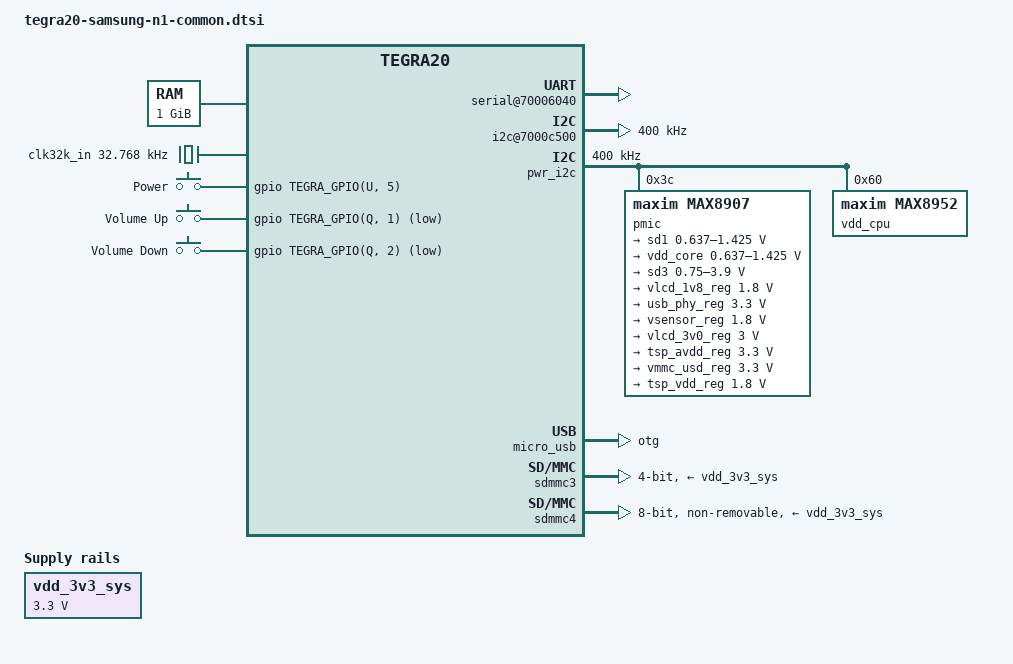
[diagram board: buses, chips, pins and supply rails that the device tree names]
// SPDX-License-Identifier: GPL-2.0
/dts-v1/;

#include <dt-bindings/input/gpio-keys.h>
#include <dt-bindings/input/input.h>
#include <dt-bindings/thermal/thermal.h>

#include "tegra20.dtsi"
#include "tegra20-cpu-opp.dtsi"
#include "tegra20-cpu-opp-microvolt.dtsi"

/ {
	aliases {
		i2c0 = &pwr_i2c;

		mmc0 = &sdmmc4; /* eMMC */
		mmc1 = &sdmmc3; /* uSD slot */

		/* MAX8907 RTC seems to be broken here, so use Tegra's */
		rtc0 = "/rtc@7000e000";
		rtc1 = &pmic;

		usb0 = &micro_usb;
	};

	/*
	 * The decompressor and also some bootloaders rely on a
	 * pre-existing /chosen node to be available to insert the
	 * command line and merge other ATAGS info.
	 */
	chosen {};

	memory@0 {
		reg = <0x00000000 0x40000000>; /* 1 GB */
	};

	reserved-memory {
		#address-cells = <1>;
		#size-cells = <1>;
		ranges;

		ramoops@2ffe0000 {
			compatible = "ramoops";
			reg = <0x2ffe0000 0x10000>;	/* 64kB */
			console-size = <0x8000>;	/* 32kB */
			record-size = <0x400>;		/*  1kB */
			ecc-size = <16>;
		};

		linux,cma@30000000 {
			compatible = "shared-dma-pool";
			alloc-ranges = <0x30000000 0x10000000>;
			size = <0x10000000>; /* 256MiB */
			linux,cma-default;
			reusable;
		};
	};

	pinmux@70000014 {
		pinctrl-names = "default";
		pinctrl-0 = <&state_default>;

		state_default: pinmux {
			ata {
				nvidia,pins = "ata";
				nvidia,function = "ide";
			};

			atb {
				nvidia,pins = "atb", "gma", "gme";
				nvidia,function = "sdio4";
			};

			atc {
				nvidia,pins = "atc";
				nvidia,function = "nand";
			};

			atd {
				nvidia,pins = "atd", "ate", "gmb", "spia",
					"spib", "spic";
				nvidia,function = "gmi";
			};

			cdev1 {
				nvidia,pins = "cdev1";
				nvidia,function = "plla_out";
			};

			cdev2 {
				nvidia,pins = "cdev2";
				nvidia,function = "pllp_out4";
			};

			crtp {
				nvidia,pins = "crtp";
				nvidia,function = "crt";
			};

			lm1 {
				nvidia,pins = "lm1";
				nvidia,function = "rsvd3";
			};

			csus {
				nvidia,pins = "csus";
				nvidia,function = "vi_sensor_clk";
			};

			dap1 {
				nvidia,pins = "dap1";
				nvidia,function = "dap1";
			};

			dap2 {
				nvidia,pins = "dap2";
				nvidia,function = "dap2";
			};

			dap3 {
				nvidia,pins = "dap3";
				nvidia,function = "dap3";
			};

			dap4 {
				nvidia,pins = "dap4";
				nvidia,function = "dap4";
			};

			dta {
				nvidia,pins = "dta", "dtb", "dtc", "dtd", "dte";
				nvidia,function = "vi";
			};

			dtf {
				nvidia,pins = "dtf";
				nvidia,function = "i2c3";
			};

			gmc {
				nvidia,pins = "gmc";
				nvidia,function = "uartd";
			};

			gmd {
				nvidia,pins = "gmd";
				nvidia,function = "sflash";
			};

			gpu {
				nvidia,pins = "gpu";
				nvidia,function = "pwm";
			};

			gpu7 {
				nvidia,pins = "gpu7";
				nvidia,function = "rtck";
			};

			gpv {
				nvidia,pins = "gpv", "slxa";
				nvidia,function = "pcie";
			};

			hdint {
				nvidia,pins = "hdint";
				nvidia,function = "hdmi";
			};

			i2cp {
				nvidia,pins = "i2cp";
				nvidia,function = "i2cp";
			};

			irrx {
				nvidia,pins = "irrx", "irtx";
				nvidia,function = "uartb";
			};

			kbca {
				nvidia,pins = "kbca", "kbcb", "kbcc", "kbcd",
					"kbce", "kbcf";
				nvidia,function = "kbc";
			};

			lcsn {
				nvidia,pins = "lcsn", "ldc", "lm0", "lpw1",
					"lsdi", "lvp0";
				nvidia,function = "rsvd4";
			};

			ld0 {
				nvidia,pins = "ld0", "ld1", "ld2", "ld3", "ld4",
					"ld5", "ld6", "ld7", "ld8", "ld9",
					"ld10", "ld11", "ld12", "ld13", "ld14",
					"ld15", "ld16", "ld17", "ldi", "lhp0",
					"lhp1", "lhp2", "lhs", "lpp", "lpw0",
					"lpw2", "lsc0", "lsc1", "lsck", "lsda",
					"lspi", "lvp1", "lvs";
				nvidia,function = "displaya";
			};

			owc {
				nvidia,pins = "owc", "spdi", "spdo", "uac";
				nvidia,function = "rsvd2";
			};

			pmc {
				nvidia,pins = "pmc";
				nvidia,function = "pwr_on";
			};

			rm {
				nvidia,pins = "rm";
				nvidia,function = "i2c1";
			};

			sdb {
				nvidia,pins = "sdb", "sdc", "sdd", "slxc", "slxk";
				nvidia,function = "sdio3";
			};

			sdio1 {
				nvidia,pins = "sdio1";
				nvidia,function = "sdio1";
			};

			slxd {
				nvidia,pins = "slxd";
				nvidia,function = "spdif";
			};

			spid {
				nvidia,pins = "spid", "spie", "spif";
				nvidia,function = "spi1";
			};

			spig {
				nvidia,pins = "spig", "spih";
				nvidia,function = "spi2_alt";
			};

			uaa {
				nvidia,pins = "uaa", "uab", "uda";
				nvidia,function = "ulpi";
			};

			uad {
				nvidia,pins = "uad";
				nvidia,function = "irda";
			};

			uca {
				nvidia,pins = "uca", "ucb";
				nvidia,function = "uartc";
			};

			conf_ata {
				nvidia,pins = "ata", "atb", "atc", "atd",
					"cdev1", "cdev2", "dap1", "dap4",
					"dte", "ddc", "dtf", "gma", "gmc",
					"gme", "gpu", "gpu7", "gpv", "i2cp",
					"irrx", "irtx", "pta", "rm", "sdc",
					"sdd", "slxc", "slxd", "slxk", "spdi",
					"spdo", "uac", "uad",
					"uda", "csus";
				nvidia,pull = <TEGRA_PIN_PULL_NONE>;
				nvidia,tristate = <TEGRA_PIN_DISABLE>;
			};

			conf_ate {
				nvidia,pins = "ate", "dap2", "dap3", "gmb", "gmd",
					"owc", "spia", "spib", "spic",
					"spid", "spie", "spig", "slxa";
				nvidia,pull = <TEGRA_PIN_PULL_NONE>;
				nvidia,tristate = <TEGRA_PIN_ENABLE>;
			};

			conf_ck32 {
				nvidia,pins = "ck32", "ddrc", "pmca", "pmcb",
					"pmcc", "pmcd", "pmce", "xm2c", "xm2d";
				nvidia,pull = <TEGRA_PIN_PULL_NONE>;
			};

			conf_crtp {
				nvidia,pins = "crtp", "spih";
				nvidia,pull = <TEGRA_PIN_PULL_UP>;
				nvidia,tristate = <TEGRA_PIN_ENABLE>;
			};

			conf_dta {
				nvidia,pins = "dta", "dtb", "dtc", "dtd";
				nvidia,pull = <TEGRA_PIN_PULL_DOWN>;
				nvidia,tristate = <TEGRA_PIN_DISABLE>;
			};

			conf_spif {
				nvidia,pins = "spif";
				nvidia,pull = <TEGRA_PIN_PULL_DOWN>;
				nvidia,tristate = <TEGRA_PIN_ENABLE>;
			};

			conf_hdint {
				nvidia,pins = "hdint", "lcsn", "ldc", "lm1",
					"lpw1", "lsck", "lsda", "lsdi", "lvp0";
				nvidia,tristate = <TEGRA_PIN_ENABLE>;
			};

			conf_kbca {
				nvidia,pins = "kbca", "kbcb", "kbcc", "kbcd",
					"kbce", "kbcf", "sdio1", "uaa", "uab",
					"uca", "ucb";
				nvidia,pull = <TEGRA_PIN_PULL_UP>;
				nvidia,tristate = <TEGRA_PIN_DISABLE>;
			};

			conf_lc {
				nvidia,pins = "lc", "ls";
				nvidia,pull = <TEGRA_PIN_PULL_UP>;
			};

			conf_ld0 {
				nvidia,pins = "ld0", "ld1", "ld2", "ld3", "ld4",
					"ld5", "ld6", "ld7", "ld8", "ld9",
					"ld10", "ld11", "ld12", "ld13", "ld14",
					"ld15", "ld16", "ld17", "ldi", "lhp0",
					"lhp1", "lhp2", "lhs", "lm0", "lpp",
					"lpw0", "lpw2", "lsc0", "lsc1", "lspi",
					"lvp1", "lvs", "pmc", "sdb";
				nvidia,tristate = <TEGRA_PIN_DISABLE>;
			};

			conf_ld17_0 {
				nvidia,pins = "ld17_0", "ld19_18", "ld21_20",
					"ld23_22";
				nvidia,pull = <TEGRA_PIN_PULL_DOWN>;
			};

			drive_sdio1 {
				nvidia,pins = "drive_sdio1", "drive_ddc", "drive_vi1";
				nvidia,high-speed-mode = <TEGRA_PIN_DISABLE>;
				nvidia,schmitt = <TEGRA_PIN_ENABLE>;
				nvidia,low-power-mode = <TEGRA_PIN_LP_DRIVE_DIV_1>;
				nvidia,pull-down-strength = <31>;
				nvidia,pull-up-strength = <31>;
				nvidia,slew-rate-rising = <TEGRA_PIN_SLEW_RATE_SLOWEST>;
				nvidia,slew-rate-falling = <TEGRA_PIN_SLEW_RATE_SLOWEST>;
			};

			drive_csus {
				nvidia,pins = "drive_csus";
				nvidia,high-speed-mode = <TEGRA_PIN_DISABLE>;
				nvidia,schmitt = <TEGRA_PIN_DISABLE>;
				nvidia,low-power-mode = <TEGRA_PIN_LP_DRIVE_DIV_1>;
				nvidia,pull-down-strength = <31>;
				nvidia,pull-up-strength = <31>;
				nvidia,slew-rate-rising = <TEGRA_PIN_SLEW_RATE_SLOWEST>;
				nvidia,slew-rate-falling = <TEGRA_PIN_SLEW_RATE_SLOWEST>;
			};
		};

		state_i2cmux_ddc: pinmux-i2cmux-ddc {
			ddc {
				nvidia,pins = "ddc";
				nvidia,function = "i2c2";
			};

			pta {
				nvidia,pins = "pta";
				nvidia,function = "rsvd4";
			};
		};

		state_i2cmux_idle: pinmux-i2cmux-idle {
			ddc {
				nvidia,pins = "ddc";
				nvidia,function = "rsvd4";
			};

			pta {
				nvidia,pins = "pta";
				nvidia,function = "rsvd4";
			};
		};

		state_i2cmux_pta: pinmux-i2cmux-pta {
			ddc {
				nvidia,pins = "ddc";
				nvidia,function = "rsvd4";
			};

			pta {
				nvidia,pins = "pta";
				nvidia,function = "i2c2";
			};
		};

		state_isa1200_on: state_isa1200_on {
			cdev2 {
				nvidia,pins = "cdev2";
				nvidia,pull = <TEGRA_PIN_PULL_UP>;
				nvidia,tristate = <TEGRA_PIN_DISABLE>;
			};
		};

		state_isa1200_off: state_isa1200_off {
			cdev2 {
				nvidia,pins = "cdev2";
				nvidia,pull = <TEGRA_PIN_PULL_NONE>;
				nvidia,tristate = <TEGRA_PIN_ENABLE>;
			};
		};
	};
#if 0
/* TODO review all this again, gpios seems to be correct */

	// GPS
	serial@70006000 {
		// I get a DMA error when HSUART is enabled, fall back to 8250
		// Also I get mysterious timed-out errors, no matter what GPIOs are.
		// compatible = "nvidia,tegra20-hsuart";
		status = "okay";
		current-speed = <115200>;
		// current-speed = <460800>;
		// current-speed = <9600>;

		/*
		 * Wakeup GPIO is needed for kernel driver to work,
		 * but we don't have one... There's GPIO_GPS_CNTL in
		 * original kernel, but it's not used.
		 */
#if 0
		gnss {
			// Actual chip is unknown
			// (I don't want to teardown this thing)
			compatible = "wi2wi,w2sg0084i";

			sirf,onoff-gpios = <&gpio TEGRA_GPIO(N, 6) GPIO_ACTIVE_HIGH>;
			// reset GPIO: B2
			// sirf,onoff-gpios = <&gpio TEGRA_GPIO(B, 2) GPIO_ACTIVE_LOW>;
			// Also depends on this, but no way to specify it
			clocks = <&tegra_pmc TEGRA_PMC_CLK_BLINK>;
			vcc-supply = <&gps_en>;
		};
#endif
	};
#endif

	serial@70006040 {
		/* Console UART */
		status = "okay";
	};

#if 0
/* TODO review all this again, gpios seems to be correct */
	// Bluetooth
	serial@70006200 {
		compatible = "nvidia,tegra20-hsuart";
		status = "okay";

		bluetooth {
			compatible = "brcm,bcm4330-bt";

			interrupt-parent = <&gpio>;
			interrupts = <TEGRA_GPIO(S, 2) IRQ_TYPE_EDGE_RISING>;
			interrupt-names = "host-wakeup";

			max-speed = <921600>;

			shutdown-gpios = <&gpio TEGRA_GPIO(W, 1) GPIO_ACTIVE_HIGH>;
			device-wakeup-gpios = <&gpio TEGRA_GPIO(S, 1) GPIO_ACTIVE_HIGH>;

			clocks = <&tegra_car TEGRA20_CLK_UARTC>;
			clock-names = "txco";

		};
	};

	i2c@7000c400 {
		status = "okay";
		clock-frequency = <100000>;
	};

	i2cmux {
		compatible = "i2c-mux-pinctrl";
		#address-cells = <1>;
		#size-cells = <0>;

		i2c-parent = <&{/i2c@7000c400}>;

		pinctrl-names = "ddc", "pta", "idle";
		pinctrl-0 = <&state_i2cmux_ddc>;
		pinctrl-1 = <&state_i2cmux_pta>;
		pinctrl-2 = <&state_i2cmux_idle>;

		i2c@0 {
			reg = <0>;
			#address-cells = <1>;
			#size-cells = <0>;

			mxt224e@4a {
				compatible = "atmel,maxtouch";
				reg = <0x4a>;
				interrupt-parent = <&gpio>;
				interrupts = <TEGRA_GPIO(D, 7) IRQ_TYPE_LEVEL_LOW>;

				vdda-supply = <&tsp_avdd_reg>;
				/* VDD LVSIO (level shifter) is not yet
				 * implemented in maxtouch driver
				 * TODO: lvsio-supply = <&tsp_lvsio_reg>;
				 */
				vdd-supply = <&tsp_vdd_reg>;
			};
		};

		/* TODO Unused? */
		i2c@1 {
			reg = <1>;
			#address-cells = <1>;
			#size-cells = <0>;
		};
	};
#endif

	i2c@7000c500 {
		/* Cameras i2c */
		status = "okay";
		clock-frequency = <400000>;

		/* Not supported - no DT binding */
		/* Front camera */
		/* s5k6aafx@3c {
			reg = <0x3c>;
		}; */
	};

	pwr_i2c: i2c@7000d000 {
		status = "okay";
		clock-frequency = <400000>;

		pmic: max8907@3c {
			compatible = "maxim,max8907";
			reg = <0x3c>;

			/*
			 * Ints seem to be broken, even on downstream -
			 * on Whistler board, which uses the same PMIC,
			 * they're marked as LEVEL_HIGH, however, this
			 * makes them always-on, so we get something
			 * like "irq 301: nobody cared" - no interrupt
			 * status reg set, BUT irq line is asserted, and
			 * I don't know how to clear it. Probably it
			 * should be triggered on edge. Downstream
			 * charger driver triggers charging interrupt
			 * on TRIGGER_RISING. Oh, no docs available
			 * on the net.
			 *
			 * Downstream kernel also has broken alarm, but
			 * time readings are correct.
			 *
			 * As a workaround, we use internal Tegra RTC
			 * as a main RTC.
			 */
			interrupts = <GIC_SPI 86 IRQ_TYPE_LEVEL_HIGH>;
			#interrupt-cells = <2>;
			interrupt-controller;

			#gpio-cells = <2>;
			gpio-controller;

			maxim,system-power-controller;

			regulators {
				sd1 {
					regulator-name = "sd1";
					regulator-min-microvolt = <637500>;
					regulator-max-microvolt = <1425000>;
					regulator-always-on;
					regulator-boot-on;
				};

				vdd_core: sd2 {
					regulator-name = "vdd_core,vdd_aon";
					regulator-min-microvolt = <637500>;
					regulator-max-microvolt = <1425000>;
					regulator-always-on;
					regulator-boot-on;
				};

				sd3 {
					/* max8952 supply */
					regulator-name = "sd3";
					regulator-min-microvolt = <750000>;
					regulator-max-microvolt = <3900000>;
					regulator-always-on;
					regulator-boot-on;
				};

				vlcd_1v8_reg: ldo3 {
					regulator-name = "vlcd_1v8";
					regulator-min-microvolt = <1800000>;
					regulator-max-microvolt = <1800000>;
					regulator-always-on;
					regulator-boot-on;
				};

				usb_phy_reg: ldo4 {
					regulator-name = "vap_usb_3v3";
					regulator-min-microvolt = <3300000>;
					regulator-max-microvolt = <3300000>;
					regulator-always-on;
					regulator-boot-on;
				};
				
				vsensor_reg: ldo10 {
					regulator-name = "vsensor_1v8";
					regulator-min-microvolt = <1800000>;
					regulator-max-microvolt = <1800000>;
				};

				vlcd_3v0_reg: ldo12 {
					regulator-name = "vlcd_3v0";
					regulator-min-microvolt = <3000000>;
					regulator-max-microvolt = <3000000>;
				};
				
				tsp_avdd_reg: ldo13 {
					regulator-name = "tsp_avdd_3v3";
					regulator-min-microvolt = <3300000>;
					regulator-max-microvolt = <3300000>;
					regulator-always-on;
				};

				vmmc_usd_reg: ldo16 {
					regulator-name = "vmmc_usd";
					regulator-min-microvolt = <3300000>;
					regulator-max-microvolt = <3300000>;
				};

				tsp_vdd_reg: ldo18 {
					regulator-name = "tsp_vdd_1v8";
					regulator-min-microvolt = <1800000>;
					regulator-max-microvolt = <1800000>;
					regulator-always-on;
				};
			};
		};
		
		vdd_cpu: max8952@60 {
			/* supply regulator is max8907's SD3 */
			compatible = "maxim,max8952";
			reg = <0x60>;
			
			max8952,dvs-mode-microvolt = <1100000>, <1100000>, <1100000>, <1100000>;
			max8952,default-mode = <1>;

			regulator-name = "vdd_arm";
			regulator-min-microvolt = <770000>;
			regulator-max-microvolt = <1100000>;
			regulator-always-on;
			regulator-boot-on;
		};
	};

#if 0
/* TODO review all this again, gpios seems to be correct */

	i2c-5 {
		/* Fuel Gauge i2c */
		compatible = "i2c-gpio";
		sda-gpios = <&gpio TEGRA_GPIO(O, 0) (GPIO_ACTIVE_HIGH | GPIO_OPEN_DRAIN)>;
		scl-gpios = <&gpio TEGRA_GPIO(O, 7) (GPIO_ACTIVE_HIGH | GPIO_OPEN_DRAIN)>;
		i2c-gpio,delay-us = <5>;
		#address-cells = <1>;
		#size-cells = <0>;

		// Use 17040 as 17043 is compatible - no ALRT feature
		max17043@36 {
			compatible = "maxim,max17040";
			reg = <0x36>;
			interrupt-parent = <&gpio>;
			interrupts = <TEGRA_GPIO(I, 5) IRQ_TYPE_LEVEL_HIGH>;
			/* Fuel alert - not supported (for now?) */
			//interrupt-parent = <&gpio>;
			//interrupts = <TEGRA_GPIO(I, 5) IRQ_TYPE_LEVEL_HIGH>;
		};
	};

	i2c-7 {
		/* Magnetometer i2c */
		compatible = "i2c-gpio";
		sda-gpios = <&gpio TEGRA_GPIO(O, 4) (GPIO_ACTIVE_HIGH | GPIO_OPEN_DRAIN)>;
		scl-gpios = <&gpio TEGRA_GPIO(O, 2) (GPIO_ACTIVE_HIGH | GPIO_OPEN_DRAIN)>;
		i2c-gpio,delay-us = <2>;
		#address-cells = <1>;
		#size-cells = <0>;

		ak8975@c {
			compatible = "asahi-kasei,ak8975";
			reg = <0xc>;
			gpios = <&gpio TEGRA_GPIO(K, 4) GPIO_ACTIVE_HIGH>;
			vdd-supply = <&vsensor_reg>;
		};
	};

	i2c-8 {
		/* Audio codec i2c */
		compatible = "i2c-gpio";
		sda-gpios = <&gpio TEGRA_GPIO(G, 3) (GPIO_ACTIVE_HIGH | GPIO_OPEN_DRAIN)>;
		scl-gpios = <&gpio TEGRA_GPIO(I, 0) (GPIO_ACTIVE_HIGH | GPIO_OPEN_DRAIN)>;
		i2c-gpio,delay-us = <5>;
		#address-cells = <1>;
		#size-cells = <0>;

		wm8994: wm8994@1a {
			compatible = "wlf,wm8994";
			reg = <0x1a>;

			DBVDD-supply = <&wlf_ldo>;
			DCVDD-supply = <&wlf_ldo>;
			AVDD1-supply = <&wlf_ldo>;
			AVDD2-supply = <&wlf_ldo>;
			CPVDD-supply = <&wlf_ldo>;
			SPKVDD1-supply = <&wlf_ldo>;
			SPKVDD2-supply = <&wlf_ldo>;

			gpio-controller;
			#gpio-cells = <2>;

			/* Probably doesn't make sense because typoed in driver */
			wlf,ldoena-always-driven;

			wlf,gpio-cfg = <0xA101 0 0 0 0 0 0 0 0 0 0>;
		};
	};

	i2c-9 {
		/* Ambient light and proximity sensor i2c */
		compatible = "i2c-gpio";
		sda-gpios = <&gpio TEGRA_GPIO(Y, 2) (GPIO_ACTIVE_HIGH | GPIO_OPEN_DRAIN)>;
		scl-gpios = <&gpio TEGRA_GPIO(Y, 0) (GPIO_ACTIVE_HIGH | GPIO_OPEN_DRAIN)>;
		i2c-gpio,delay-us = <2>;
		#address-cells = <1>;
		#size-cells = <0>;
		interrupt-parent = <&gpio>;
		interrupts = <TEGRA_GPIO(O, 1) IRQ_TYPE_LEVEL_HIGH>;

		/* Not supported - no driver */
		/* cm3663@11 {
			reg = <0x11>;
		}; */
	};

	i2c-11 {
		/* USB FSA i2c */
		compatible = "i2c-gpio";
		sda-gpios = <&gpio TEGRA_GPIO(BB, 4) (GPIO_ACTIVE_HIGH | GPIO_OPEN_DRAIN)>;
		scl-gpios = <&gpio TEGRA_GPIO(BB, 1) (GPIO_ACTIVE_HIGH | GPIO_OPEN_DRAIN)>;
		i2c-gpio,delay-us = <5>;
		#address-cells = <1>;
		#size-cells = <0>;

		fsa9480@25 {
			compatible = "fcs,fsa9480";
			reg = <0x25>;
			interrupt-parent = <&gpio>;
			interrupts = <TEGRA_GPIO(L, 1) IRQ_TYPE_LEVEL_HIGH>;
		};
	};

	i2c-15 {
		/* Thermal i2c */
		compatible = "i2c-gpio";
		sda-gpios = <&gpio TEGRA_GPIO(Y, 3) (GPIO_ACTIVE_HIGH | GPIO_OPEN_DRAIN)>;
		scl-gpios = <&gpio TEGRA_GPIO(Y, 1) (GPIO_ACTIVE_HIGH | GPIO_OPEN_DRAIN)>;
		i2c-gpio,delay-us = <5>;
		#address-cells = <1>;
		#size-cells = <0>;
		interrupt-parent = <&gpio>;
		interrupts = <TEGRA_GPIO(U, 6) IRQ_TYPE_LEVEL_HIGH>;

		nct1008@4c {
			compatible = "onnn,nct1008";
			reg = <0x4c>;
			vcc-supply = <&reg_thrm>;
			interrupt-parent = <&gpio>;
			interrupts = <TEGRA_GPIO(U, 6) IRQ_TYPE_LEVEL_LOW>;
			#thermal-sensor-cells = <1>;
		};
	};

	i2c-17 {
		/* Vibrator i2c */
		compatible = "i2c-gpio";
		i2c-gpio,delay-us = <5>;
		#address-cells = <1>;
		#size-cells = <0>;

		isa1200@48 {
			compatible = "imagis,isa1200";
			reg = <0x48>;
			enable-gpio = <&gpio TEGRA_GPIO(R, 6) GPIO_ACTIVE_HIGH>;

			max-timeout = <10000>;
			ctrl0 = <17>;
			ctrl1 = <192>;
			ctrl2 = <0>;
			ctrl4 = <0>;
			pll = <0x23>;
			duty = <0x85>;
			period = <0x86>;

			clocks = <&tegra_car TEGRA20_CLK_CDEV2>;
			clock-names = "vibrator-clk";

			pinctrl-names = "on", "off";
			pinctrl-0 = <&state_isa1200_on>;
			pinctrl-1 = <&state_isa1200_off>;
		};
	};
#endif

	pmc@7000e400 {
		nvidia,invert-interrupt;
		nvidia,suspend-mode = <0>;
		nvidia,cpu-pwr-good-time = <2000>;
		nvidia,cpu-pwr-off-time = <0>;
		nvidia,core-pwr-good-time = <0x7e7e 0x7e7e>;
		nvidia,core-pwr-off-time = <0>;
		nvidia,core-power-req-active-high;
		nvidia,sys-clock-req-active-high;
		nvidia,lp0-vec = <0x1819E000 8192>;
		core-supply = <&vdd_core>;
	};

	micro_usb: usb@c5000000 {
		status = "okay";
		dr_mode = "otg";
	};

	usb-phy@c5000000 {
		status = "okay";
		vbus-supply = <&usb_phy_reg>;
	};

	sdmmc3: mmc@c8000400 {
		status = "okay";
		bus-width = <4>;

		vmmc-supply = <&vdd_3v3_sys>;
		vqmmc-supply = <&vdd_3v3_sys>;
	};

	sdmmc4: mmc@c8000600 {
		status = "okay";
		bus-width = <8>;
		non-removable;

		vmmc-supply = <&vdd_3v3_sys>;
		vqmmc-supply = <&vdd_3v3_sys>;
	};

	/* PMIC has a built-in 32KHz oscillator which is used by PMC */
	clk32k_in: clock-32k-in {
		compatible = "fixed-clock";
		#clock-cells = <0>;
		clock-frequency = <32768>;
	};

	cpus {
		cpu0: cpu@0 {
			cpu-supply = <&vdd_cpu>;
			operating-points-v2 = <&cpu0_opp_table>;
			#cooling-cells = <2>;
		};

		cpu1: cpu@1 {
			cpu-supply = <&vdd_cpu>;
			operating-points-v2 = <&cpu0_opp_table>;
			#cooling-cells = <2>;
		};
	};

	gpio-keys {
		compatible = "gpio-keys";

		key-power {
			label = "Power";
			gpios = <&gpio TEGRA_GPIO(U, 5) GPIO_ACTIVE_HIGH>;
			linux,code = <KEY_ENTER>;
		};

		key-volume-up {
			label = "Volume Up";
			gpios = <&gpio TEGRA_GPIO(Q, 1) GPIO_ACTIVE_LOW>;
			linux,code = <KEY_UP>;
		};

		key-volume-down {
			label = "Volume Down";
			gpios = <&gpio TEGRA_GPIO(Q, 2) GPIO_ACTIVE_LOW>;
			linux,code = <KEY_DOWN>;
		};
	};

	vdd_3v3_sys: regulator-3v3 {
		compatible = "regulator-fixed";
		regulator-name = "vdd_3v3_vs";
		regulator-min-microvolt = <3300000>;
		regulator-max-microvolt = <3300000>;
		regulator-always-on;
	};

#if 0
	wlf_ldo: regulator-wlf {
		compatible = "regulator-fixed";
		regulator-name = "wlf-wm8994-ldo";
		gpio = <&gpio TEGRA_GPIO(X, 5) GPIO_ACTIVE_HIGH>;
		regulator-enable-ramp-delay = <125000>;
		enable-active-high;
	};

	//TODO also uncomment device specifics
	sound {
		nvidia,i2s-controller = <&tegra_i2s1>;
		nvidia,audio-codec = <&wm8994>;

		nvidia,audio-routing =
			"Speakers", "SPKOUTLP",
			"Speakers", "SPKOUTLN",
			"Headphone Jack", "HPOUT1L",
			"Headphone Jack", "HPOUT1R",
			"Int Spk", "HPOUT2P",
			"Int Spk", "HPOUT2N",
			"IN1LP", "Mic Jack",
			"IN1LN", "Mic Jack";
		/* TODO: routes for modem and, probably, BT SCO */

		clocks = <&tegra_car TEGRA20_CLK_PLL_A>,
			 <&tegra_car TEGRA20_CLK_PLL_A_OUT0>,
			 <&tegra_car TEGRA20_CLK_CDEV1>;
		clock-names = "pll_a", "pll_a_out0", "mclk";

		nvidia,ear-sel-gpios = <&gpio TEGRA_GPIO(I, 4) GPIO_ACTIVE_HIGH>;
		nvidia,int-mic-en-gpios = <&gpio TEGRA_GPIO(X, 6) GPIO_ACTIVE_HIGH>;
		nvidia,ext-mic-en-gpios = <&gpio TEGRA_GPIO(H, 3) GPIO_ACTIVE_HIGH>;
		nvidia,hp-det-gpios = <&gpio TEGRA_GPIO(L, 3) GPIO_ACTIVE_HIGH>;
	};

	//TODO
	thermal-zones {
	};
#endif
};
